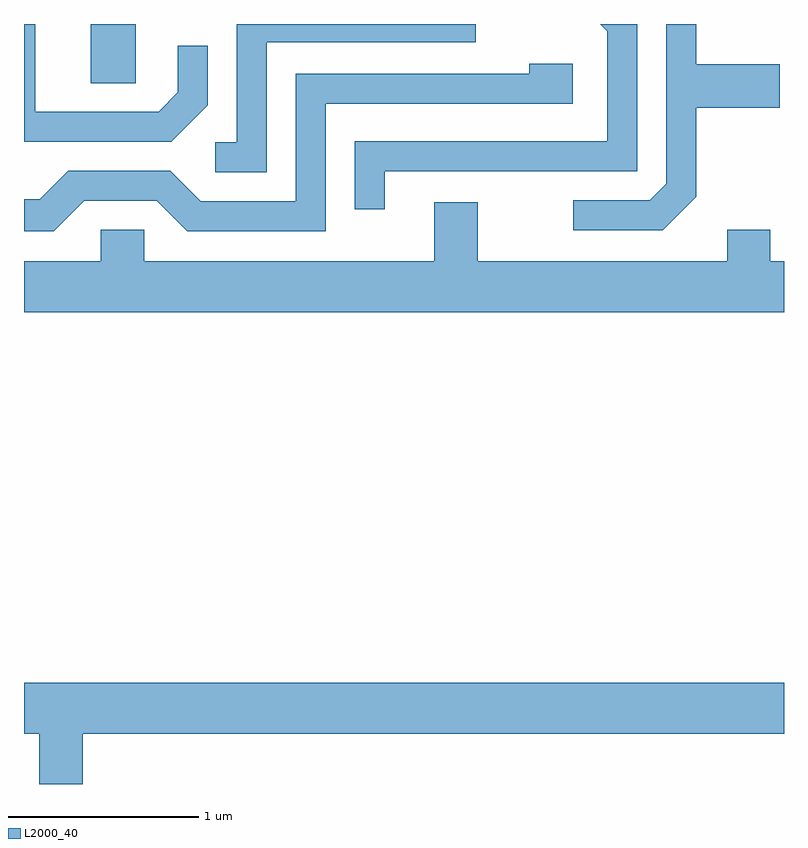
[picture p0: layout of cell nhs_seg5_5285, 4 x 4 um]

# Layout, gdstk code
import gdstk
lib = gdstk.Library(unit=1e-6, precision=1e-09)
def R(c, l, rs):  # rectangles x0, y0, x1, y1
    for r in rs: c.add(gdstk.rectangle(r[:2], r[2:], *l))
def P(c, l, *ps):  # polygons
    for p in ps: c.add(gdstk.Polygon(p, *l))
L2000_40 = (2000, 40)

nhs_seg5_5285 = lib.new_cell('nhs_seg5_5285')
R(nhs_seg5_5285, L2000_40, [(341.961,1475.761,342.199,1476.072)])
P(nhs_seg5_5285, L2000_40, [(343.509,1475.296),(344.839,1475.296),(344.839,1476.072),(344.643,1476.072),(344.681,1476.034),(344.681,1475.454),(343.351,1475.454),(343.351,1475.098),(343.509,1475.098)],
  [(345.149,1475.164),(345.149,1475.631),(345.589,1475.631),(345.589,1475.859),(345.149,1475.859),(345.149,1476.072),(344.991,1476.072),(344.991,1475.232),(344.904,1475.144),(344.503,1475.144),(344.503,1474.986),(344.972,1474.986)],
  [(342.889,1475.976),(343.988,1475.976),(343.988,1476.072),(342.731,1476.072),(342.731,1475.449),(342.618,1475.449),(342.618,1475.291),(342.889,1475.291)],
  [(342.579,1475.644),(342.579,1475.958),(342.421,1475.958),(342.421,1475.712),(342.319,1475.609),(341.669,1475.609),(341.669,1476.072),(341.611,1476.072),(341.611,1475.451),(342.387,1475.451)],
  [(341.927,1475.141),(342.309,1475.141),(342.469,1474.981),(343.199,1474.981),(343.199,1475.651),(344.499,1475.651),(344.499,1475.864),(344.271,1475.864),(344.271,1475.809),(343.041,1475.809),(343.041,1475.139),(342.542,1475.139),(342.382,1475.299),(341.844,1475.299),(341.694,1475.149),(341.611,1475.149),(341.611,1474.981),(341.767,1474.981)],
  [(345.611,1474.824),(345.539,1474.824),(345.539,1474.989),(345.311,1474.989),(345.311,1474.824),(343.999,1474.824),(343.999,1475.134),(343.771,1475.134),(343.771,1474.824),(342.244,1474.824),(342.244,1474.989),(342.016,1474.989),(342.016,1474.824),(341.611,1474.824),(341.611,1474.556),(345.611,1474.556)],
  [(341.919,1472.336),(345.611,1472.336),(345.611,1472.604),(341.611,1472.604),(341.611,1472.336),(341.691,1472.336),(341.691,1472.072),(341.919,1472.072)])

lib.write_gds('nhs_seg5_5285.gds')
